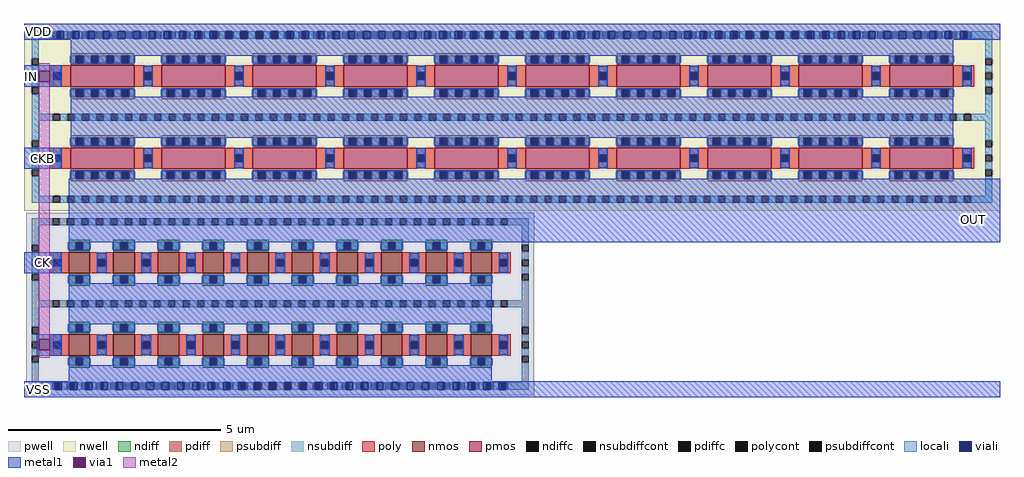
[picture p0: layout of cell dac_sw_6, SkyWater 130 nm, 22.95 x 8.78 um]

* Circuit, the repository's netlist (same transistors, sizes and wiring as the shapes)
** sch_path: /home/mthudaa/vlsi/8bit_SAR-ADC_ITS/xschem/dac_sw_6.sch
.subckt dac_sw_6 vdd in ck ckb vss out
*.PININFO vdd:I in:I ck:I ckb:I vss:I out:O
XM1 net1 in vdd vdd sky130_fd_pr__pfet_01v8 L=0.5 W=1.5 nf=1 m=10
XM2 out ckb net1 vdd sky130_fd_pr__pfet_01v8 L=0.5 W=1.5 nf=1 m=10
XM3 out ck net2 vss sky130_fd_pr__nfet_01v8 L=0.5 W=0.5 nf=1 m=10
XM4 net2 in vss vss sky130_fd_pr__nfet_01v8 L=0.5 W=0.5 nf=1 m=10
.ends
.end

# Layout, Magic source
magic
tech sky130A
magscale 1 2
<< locali >>
rect 238 1527 260 1561
rect 294 1527 332 1561
rect 366 1527 404 1561
rect 438 1527 476 1561
rect 510 1527 548 1561
rect 582 1527 620 1561
rect 654 1527 692 1561
rect 726 1527 764 1561
rect 798 1527 836 1561
rect 870 1527 908 1561
rect 942 1527 980 1561
rect 1014 1527 1052 1561
rect 1086 1527 1124 1561
rect 1158 1527 1196 1561
rect 1230 1527 1268 1561
rect 1302 1527 1340 1561
rect 1374 1527 1412 1561
rect 1446 1527 1484 1561
rect 1518 1527 1556 1561
rect 1590 1527 1628 1561
rect 1662 1527 1700 1561
rect 1734 1527 1772 1561
rect 1806 1527 1844 1561
rect 1878 1527 1916 1561
rect 1950 1527 1988 1561
rect 2022 1527 2060 1561
rect 2094 1527 2132 1561
rect 2166 1527 2204 1561
rect 2238 1527 2276 1561
rect 2310 1527 2348 1561
rect 2382 1527 2420 1561
rect 2454 1527 2492 1561
rect 2526 1527 2564 1561
rect 2598 1527 2636 1561
rect 2670 1527 2708 1561
rect 2742 1527 2780 1561
rect 2814 1527 2852 1561
rect 2886 1527 2924 1561
rect 2958 1527 2996 1561
rect 3030 1527 3068 1561
rect 3102 1527 3140 1561
rect 3174 1527 3212 1561
rect 3246 1527 3284 1561
rect 3318 1527 3356 1561
rect 3390 1527 3428 1561
rect 3462 1527 3500 1561
rect 3534 1527 3572 1561
rect 3606 1527 3644 1561
rect 3678 1527 3716 1561
rect 3750 1527 3788 1561
rect 3822 1527 3860 1561
rect 3894 1527 3932 1561
rect 3966 1527 4004 1561
rect 4038 1527 4076 1561
rect 4110 1527 4148 1561
rect 4182 1527 4220 1561
rect 4254 1527 4292 1561
rect 4326 1527 4364 1561
rect 4398 1527 4436 1561
rect 4470 1527 4508 1561
rect 4542 1527 4564 1561
rect 238 -123 250 -89
rect 284 -123 322 -89
rect 356 -123 394 -89
rect 428 -123 466 -89
rect 500 -123 538 -89
rect 572 -123 610 -89
rect 644 -123 682 -89
rect 716 -123 754 -89
rect 788 -123 826 -89
rect 860 -123 898 -89
rect 932 -123 970 -89
rect 1004 -123 1042 -89
rect 1076 -123 1114 -89
rect 1148 -123 1186 -89
rect 1220 -123 1258 -89
rect 1292 -123 1330 -89
rect 1364 -123 1402 -89
rect 1436 -123 1474 -89
rect 1508 -123 1546 -89
rect 1580 -123 1618 -89
rect 1652 -123 1690 -89
rect 1724 -123 1762 -89
rect 1796 -123 1834 -89
rect 1868 -123 1906 -89
rect 1940 -123 1978 -89
rect 2012 -123 2050 -89
rect 2084 -123 2122 -89
rect 2156 -123 2194 -89
rect 2228 -123 2266 -89
rect 2300 -123 2338 -89
rect 2372 -123 2384 -89
<< viali >>
rect 260 1527 294 1561
rect 332 1527 366 1561
rect 404 1527 438 1561
rect 476 1527 510 1561
rect 548 1527 582 1561
rect 620 1527 654 1561
rect 692 1527 726 1561
rect 764 1527 798 1561
rect 836 1527 870 1561
rect 908 1527 942 1561
rect 980 1527 1014 1561
rect 1052 1527 1086 1561
rect 1124 1527 1158 1561
rect 1196 1527 1230 1561
rect 1268 1527 1302 1561
rect 1340 1527 1374 1561
rect 1412 1527 1446 1561
rect 1484 1527 1518 1561
rect 1556 1527 1590 1561
rect 1628 1527 1662 1561
rect 1700 1527 1734 1561
rect 1772 1527 1806 1561
rect 1844 1527 1878 1561
rect 1916 1527 1950 1561
rect 1988 1527 2022 1561
rect 2060 1527 2094 1561
rect 2132 1527 2166 1561
rect 2204 1527 2238 1561
rect 2276 1527 2310 1561
rect 2348 1527 2382 1561
rect 2420 1527 2454 1561
rect 2492 1527 2526 1561
rect 2564 1527 2598 1561
rect 2636 1527 2670 1561
rect 2708 1527 2742 1561
rect 2780 1527 2814 1561
rect 2852 1527 2886 1561
rect 2924 1527 2958 1561
rect 2996 1527 3030 1561
rect 3068 1527 3102 1561
rect 3140 1527 3174 1561
rect 3212 1527 3246 1561
rect 3284 1527 3318 1561
rect 3356 1527 3390 1561
rect 3428 1527 3462 1561
rect 3500 1527 3534 1561
rect 3572 1527 3606 1561
rect 3644 1527 3678 1561
rect 3716 1527 3750 1561
rect 3788 1527 3822 1561
rect 3860 1527 3894 1561
rect 3932 1527 3966 1561
rect 4004 1527 4038 1561
rect 4076 1527 4110 1561
rect 4148 1527 4182 1561
rect 4220 1527 4254 1561
rect 4292 1527 4326 1561
rect 4364 1527 4398 1561
rect 4436 1527 4470 1561
rect 4508 1527 4542 1561
rect 250 -123 284 -89
rect 322 -123 356 -89
rect 394 -123 428 -89
rect 466 -123 500 -89
rect 538 -123 572 -89
rect 610 -123 644 -89
rect 682 -123 716 -89
rect 754 -123 788 -89
rect 826 -123 860 -89
rect 898 -123 932 -89
rect 970 -123 1004 -89
rect 1042 -123 1076 -89
rect 1114 -123 1148 -89
rect 1186 -123 1220 -89
rect 1258 -123 1292 -89
rect 1330 -123 1364 -89
rect 1402 -123 1436 -89
rect 1474 -123 1508 -89
rect 1546 -123 1580 -89
rect 1618 -123 1652 -89
rect 1690 -123 1724 -89
rect 1762 -123 1796 -89
rect 1834 -123 1868 -89
rect 1906 -123 1940 -89
rect 1978 -123 2012 -89
rect 2050 -123 2084 -89
rect 2122 -123 2156 -89
rect 2194 -123 2228 -89
rect 2266 -123 2300 -89
rect 2338 -123 2372 -89
<< metal1 >>
rect 106 1561 4696 1597
rect 106 1527 260 1561
rect 294 1527 332 1561
rect 366 1527 404 1561
rect 438 1527 476 1561
rect 510 1527 548 1561
rect 582 1527 620 1561
rect 654 1527 692 1561
rect 726 1527 764 1561
rect 798 1527 836 1561
rect 870 1527 908 1561
rect 942 1527 980 1561
rect 1014 1527 1052 1561
rect 1086 1527 1124 1561
rect 1158 1527 1196 1561
rect 1230 1527 1268 1561
rect 1302 1527 1340 1561
rect 1374 1527 1412 1561
rect 1446 1527 1484 1561
rect 1518 1527 1556 1561
rect 1590 1527 1628 1561
rect 1662 1527 1700 1561
rect 1734 1527 1772 1561
rect 1806 1527 1844 1561
rect 1878 1527 1916 1561
rect 1950 1527 1988 1561
rect 2022 1527 2060 1561
rect 2094 1527 2132 1561
rect 2166 1527 2204 1561
rect 2238 1527 2276 1561
rect 2310 1527 2348 1561
rect 2382 1527 2420 1561
rect 2454 1527 2492 1561
rect 2526 1527 2564 1561
rect 2598 1527 2636 1561
rect 2670 1527 2708 1561
rect 2742 1527 2780 1561
rect 2814 1527 2852 1561
rect 2886 1527 2924 1561
rect 2958 1527 2996 1561
rect 3030 1527 3068 1561
rect 3102 1527 3140 1561
rect 3174 1527 3212 1561
rect 3246 1527 3284 1561
rect 3318 1527 3356 1561
rect 3390 1527 3428 1561
rect 3462 1527 3500 1561
rect 3534 1527 3572 1561
rect 3606 1527 3644 1561
rect 3678 1527 3716 1561
rect 3750 1527 3788 1561
rect 3822 1527 3860 1561
rect 3894 1527 3932 1561
rect 3966 1527 4004 1561
rect 4038 1527 4076 1561
rect 4110 1527 4148 1561
rect 4182 1527 4220 1561
rect 4254 1527 4292 1561
rect 4326 1527 4364 1561
rect 4398 1527 4436 1561
rect 4470 1527 4508 1561
rect 4542 1527 4696 1561
rect 106 1521 4696 1527
rect 325 1447 4477 1521
rect 106 1377 284 1401
rect 106 1325 176 1377
rect 228 1325 284 1377
rect 106 1301 284 1325
rect 325 1061 4477 1255
rect 106 915 284 1015
rect 316 569 4696 869
rect 106 423 284 523
rect 316 183 2306 377
rect 166 113 284 137
rect 166 61 176 113
rect 228 61 284 113
rect 166 37 284 61
rect 316 -83 2306 -9
rect 106 -89 4696 -83
rect 106 -123 250 -89
rect 284 -123 322 -89
rect 356 -123 394 -89
rect 428 -123 466 -89
rect 500 -123 538 -89
rect 572 -123 610 -89
rect 644 -123 682 -89
rect 716 -123 754 -89
rect 788 -123 826 -89
rect 860 -123 898 -89
rect 932 -123 970 -89
rect 1004 -123 1042 -89
rect 1076 -123 1114 -89
rect 1148 -123 1186 -89
rect 1220 -123 1258 -89
rect 1292 -123 1330 -89
rect 1364 -123 1402 -89
rect 1436 -123 1474 -89
rect 1508 -123 1546 -89
rect 1580 -123 1618 -89
rect 1652 -123 1690 -89
rect 1724 -123 1762 -89
rect 1796 -123 1834 -89
rect 1868 -123 1906 -89
rect 1940 -123 1978 -89
rect 2012 -123 2050 -89
rect 2084 -123 2122 -89
rect 2156 -123 2194 -89
rect 2228 -123 2266 -89
rect 2300 -123 2338 -89
rect 2372 -123 4696 -89
rect 106 -159 4696 -123
<< via1 >>
rect 176 1325 228 1377
rect 176 61 228 113
<< metal2 >>
rect 176 1377 228 1411
rect 176 113 228 1325
rect 176 27 228 61
use sky130_fd_pr__nfet_01v8_55NS9E  sky130_fd_pr__nfet_01v8_55NS9E_0
transform 0 1 1311 -1 0 87
box -236 -1195 236 1195
use sky130_fd_pr__pfet_01v8_D9QZ56  sky130_fd_pr__pfet_01v8_D9QZ56_0
transform 0 1 2401 -1 0 965
box -246 -2295 246 2295
use sky130_fd_pr__pfet_01v8_D9QZ56  XM1
transform 0 1 2401 -1 0 1351
box -246 -2295 246 2295
use sky130_fd_pr__nfet_01v8_55NS9E  XM3
transform 0 1 1311 -1 0 473
box -236 -1195 236 1195
<< labels >>
flabel metal1 s 106 1521 238 1597 0 FreeSans 500 0 0 0 VDD
port 1 nsew
flabel metal1 s 106 1301 176 1401 0 FreeSans 500 0 0 0 IN
port 2 nsew
flabel metal1 s 106 915 284 1015 0 FreeSans 500 0 0 0 CKB
port 3 nsew
flabel metal1 s 106 423 284 523 0 FreeSans 500 0 0 0 CK
port 4 nsew
flabel metal1 s 106 -159 238 -83 0 FreeSans 500 0 0 0 VSS
port 5 nsew
flabel metal1 s 4514 655 4628 703 0 FreeSans 500 0 0 0 OUT
port 6 nsew
<< end >>

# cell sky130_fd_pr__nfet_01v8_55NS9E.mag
magic
tech sky130A
magscale 1 2
<< pwell >>
rect -236 -1195 236 1195
<< nmos >>
rect -50 895 50 995
rect -50 685 50 785
rect -50 475 50 575
rect -50 265 50 365
rect -50 55 50 155
rect -50 -155 50 -55
rect -50 -365 50 -265
rect -50 -575 50 -475
rect -50 -785 50 -685
rect -50 -995 50 -895
<< ndiff >>
rect -108 962 -50 995
rect -108 928 -96 962
rect -62 928 -50 962
rect -108 895 -50 928
rect 50 962 108 995
rect 50 928 62 962
rect 96 928 108 962
rect 50 895 108 928
rect -108 752 -50 785
rect -108 718 -96 752
rect -62 718 -50 752
rect -108 685 -50 718
rect 50 752 108 785
rect 50 718 62 752
rect 96 718 108 752
rect 50 685 108 718
rect -108 542 -50 575
rect -108 508 -96 542
rect -62 508 -50 542
rect -108 475 -50 508
rect 50 542 108 575
rect 50 508 62 542
rect 96 508 108 542
rect 50 475 108 508
rect -108 332 -50 365
rect -108 298 -96 332
rect -62 298 -50 332
rect -108 265 -50 298
rect 50 332 108 365
rect 50 298 62 332
rect 96 298 108 332
rect 50 265 108 298
rect -108 122 -50 155
rect -108 88 -96 122
rect -62 88 -50 122
rect -108 55 -50 88
rect 50 122 108 155
rect 50 88 62 122
rect 96 88 108 122
rect 50 55 108 88
rect -108 -88 -50 -55
rect -108 -122 -96 -88
rect -62 -122 -50 -88
rect -108 -155 -50 -122
rect 50 -88 108 -55
rect 50 -122 62 -88
rect 96 -122 108 -88
rect 50 -155 108 -122
rect -108 -298 -50 -265
rect -108 -332 -96 -298
rect -62 -332 -50 -298
rect -108 -365 -50 -332
rect 50 -298 108 -265
rect 50 -332 62 -298
rect 96 -332 108 -298
rect 50 -365 108 -332
rect -108 -508 -50 -475
rect -108 -542 -96 -508
rect -62 -542 -50 -508
rect -108 -575 -50 -542
rect 50 -508 108 -475
rect 50 -542 62 -508
rect 96 -542 108 -508
rect 50 -575 108 -542
rect -108 -718 -50 -685
rect -108 -752 -96 -718
rect -62 -752 -50 -718
rect -108 -785 -50 -752
rect 50 -718 108 -685
rect 50 -752 62 -718
rect 96 -752 108 -718
rect 50 -785 108 -752
rect -108 -928 -50 -895
rect -108 -962 -96 -928
rect -62 -962 -50 -928
rect -108 -995 -50 -962
rect 50 -928 108 -895
rect 50 -962 62 -928
rect 96 -962 108 -928
rect 50 -995 108 -962
<< ndiffc >>
rect -96 928 -62 962
rect 62 928 96 962
rect -96 718 -62 752
rect 62 718 96 752
rect -96 508 -62 542
rect 62 508 96 542
rect -96 298 -62 332
rect 62 298 96 332
rect -96 88 -62 122
rect 62 88 96 122
rect -96 -122 -62 -88
rect 62 -122 96 -88
rect -96 -332 -62 -298
rect 62 -332 96 -298
rect -96 -542 -62 -508
rect 62 -542 96 -508
rect -96 -752 -62 -718
rect 62 -752 96 -718
rect -96 -962 -62 -928
rect 62 -962 96 -928
<< psubdiff >>
rect -210 1135 -85 1169
rect -51 1135 -17 1169
rect 17 1135 51 1169
rect 85 1135 210 1169
rect -210 1071 -176 1135
rect -210 1003 -176 1037
rect 176 1071 210 1135
rect 176 1003 210 1037
rect -210 935 -176 969
rect -210 867 -176 901
rect 176 935 210 969
rect -210 799 -176 833
rect 176 867 210 901
rect 176 799 210 833
rect -210 731 -176 765
rect -210 663 -176 697
rect 176 731 210 765
rect -210 595 -176 629
rect 176 663 210 697
rect 176 595 210 629
rect -210 527 -176 561
rect -210 459 -176 493
rect 176 527 210 561
rect -210 391 -176 425
rect 176 459 210 493
rect 176 391 210 425
rect -210 323 -176 357
rect -210 255 -176 289
rect 176 323 210 357
rect -210 187 -176 221
rect 176 255 210 289
rect 176 187 210 221
rect -210 119 -176 153
rect -210 51 -176 85
rect 176 119 210 153
rect -210 -17 -176 17
rect -210 -85 -176 -51
rect 176 51 210 85
rect 176 -17 210 17
rect -210 -153 -176 -119
rect 176 -85 210 -51
rect 176 -153 210 -119
rect -210 -221 -176 -187
rect -210 -289 -176 -255
rect 176 -221 210 -187
rect -210 -357 -176 -323
rect 176 -289 210 -255
rect 176 -357 210 -323
rect -210 -425 -176 -391
rect -210 -493 -176 -459
rect 176 -425 210 -391
rect -210 -561 -176 -527
rect 176 -493 210 -459
rect 176 -561 210 -527
rect -210 -629 -176 -595
rect -210 -697 -176 -663
rect 176 -629 210 -595
rect -210 -765 -176 -731
rect 176 -697 210 -663
rect 176 -765 210 -731
rect -210 -833 -176 -799
rect -210 -901 -176 -867
rect 176 -833 210 -799
rect -210 -969 -176 -935
rect 176 -901 210 -867
rect 176 -969 210 -935
rect -210 -1037 -176 -1003
rect -210 -1135 -176 -1071
rect 176 -1037 210 -1003
rect 176 -1135 210 -1071
rect -210 -1169 -85 -1135
rect -51 -1169 -17 -1135
rect 17 -1169 51 -1135
rect 85 -1169 210 -1135
<< psubdiffcont >>
rect -85 1135 -51 1169
rect -17 1135 17 1169
rect 51 1135 85 1169
rect -210 1037 -176 1071
rect -210 969 -176 1003
rect 176 1037 210 1071
rect -210 901 -176 935
rect 176 969 210 1003
rect 176 901 210 935
rect -210 833 -176 867
rect -210 765 -176 799
rect 176 833 210 867
rect -210 697 -176 731
rect 176 765 210 799
rect 176 697 210 731
rect -210 629 -176 663
rect -210 561 -176 595
rect 176 629 210 663
rect -210 493 -176 527
rect 176 561 210 595
rect 176 493 210 527
rect -210 425 -176 459
rect -210 357 -176 391
rect 176 425 210 459
rect -210 289 -176 323
rect 176 357 210 391
rect 176 289 210 323
rect -210 221 -176 255
rect -210 153 -176 187
rect 176 221 210 255
rect -210 85 -176 119
rect 176 153 210 187
rect 176 85 210 119
rect -210 17 -176 51
rect -210 -51 -176 -17
rect 176 17 210 51
rect 176 -51 210 -17
rect -210 -119 -176 -85
rect -210 -187 -176 -153
rect 176 -119 210 -85
rect -210 -255 -176 -221
rect 176 -187 210 -153
rect 176 -255 210 -221
rect -210 -323 -176 -289
rect -210 -391 -176 -357
rect 176 -323 210 -289
rect -210 -459 -176 -425
rect 176 -391 210 -357
rect 176 -459 210 -425
rect -210 -527 -176 -493
rect -210 -595 -176 -561
rect 176 -527 210 -493
rect -210 -663 -176 -629
rect 176 -595 210 -561
rect 176 -663 210 -629
rect -210 -731 -176 -697
rect -210 -799 -176 -765
rect 176 -731 210 -697
rect -210 -867 -176 -833
rect 176 -799 210 -765
rect 176 -867 210 -833
rect -210 -935 -176 -901
rect -210 -1003 -176 -969
rect 176 -935 210 -901
rect -210 -1071 -176 -1037
rect 176 -1003 210 -969
rect 176 -1071 210 -1037
rect -85 -1169 -51 -1135
rect -17 -1169 17 -1135
rect 51 -1169 85 -1135
<< poly >>
rect -50 1067 50 1083
rect -50 1033 -17 1067
rect 17 1033 50 1067
rect -50 995 50 1033
rect -50 857 50 895
rect -50 823 -17 857
rect 17 823 50 857
rect -50 785 50 823
rect -50 647 50 685
rect -50 613 -17 647
rect 17 613 50 647
rect -50 575 50 613
rect -50 437 50 475
rect -50 403 -17 437
rect 17 403 50 437
rect -50 365 50 403
rect -50 227 50 265
rect -50 193 -17 227
rect 17 193 50 227
rect -50 155 50 193
rect -50 17 50 55
rect -50 -17 -17 17
rect 17 -17 50 17
rect -50 -55 50 -17
rect -50 -193 50 -155
rect -50 -227 -17 -193
rect 17 -227 50 -193
rect -50 -265 50 -227
rect -50 -403 50 -365
rect -50 -437 -17 -403
rect 17 -437 50 -403
rect -50 -475 50 -437
rect -50 -613 50 -575
rect -50 -647 -17 -613
rect 17 -647 50 -613
rect -50 -685 50 -647
rect -50 -823 50 -785
rect -50 -857 -17 -823
rect 17 -857 50 -823
rect -50 -895 50 -857
rect -50 -1033 50 -995
rect -50 -1067 -17 -1033
rect 17 -1067 50 -1033
rect -50 -1083 50 -1067
<< polycont >>
rect -17 1033 17 1067
rect -17 823 17 857
rect -17 613 17 647
rect -17 403 17 437
rect -17 193 17 227
rect -17 -17 17 17
rect -17 -227 17 -193
rect -17 -437 17 -403
rect -17 -647 17 -613
rect -17 -857 17 -823
rect -17 -1067 17 -1033
<< locali >>
rect -210 1135 -85 1169
rect -51 1135 -17 1169
rect 17 1135 51 1169
rect 85 1135 210 1169
rect -210 1071 -176 1135
rect 176 1071 210 1135
rect -210 1003 -176 1037
rect -50 1033 -17 1067
rect 17 1033 50 1067
rect 176 1003 210 1037
rect -210 935 -176 969
rect -210 867 -176 901
rect -96 962 -62 999
rect -96 891 -62 928
rect 62 962 96 999
rect 62 891 96 928
rect 176 935 210 969
rect 176 867 210 901
rect -210 799 -176 833
rect -50 823 -17 857
rect 17 823 50 857
rect 176 799 210 833
rect -210 731 -176 765
rect -210 663 -176 697
rect -96 752 -62 789
rect -96 681 -62 718
rect 62 752 96 789
rect 62 681 96 718
rect 176 731 210 765
rect 176 663 210 697
rect -210 595 -176 629
rect -50 613 -17 647
rect 17 613 50 647
rect 176 595 210 629
rect -210 527 -176 561
rect -210 459 -176 493
rect -96 542 -62 579
rect -96 471 -62 508
rect 62 542 96 579
rect 62 471 96 508
rect 176 527 210 561
rect 176 459 210 493
rect -210 391 -176 425
rect -50 403 -17 437
rect 17 403 50 437
rect 176 391 210 425
rect -210 323 -176 357
rect -210 255 -176 289
rect -96 332 -62 369
rect -96 261 -62 298
rect 62 332 96 369
rect 62 261 96 298
rect 176 323 210 357
rect 176 255 210 289
rect -210 187 -176 221
rect -50 193 -17 227
rect 17 193 50 227
rect 176 187 210 221
rect -210 119 -176 153
rect -210 51 -176 85
rect -96 122 -62 159
rect -96 51 -62 88
rect 62 122 96 159
rect 62 51 96 88
rect 176 119 210 153
rect 176 51 210 85
rect -210 -17 -176 17
rect -50 -17 -17 17
rect 17 -17 50 17
rect 176 -17 210 17
rect -210 -85 -176 -51
rect -210 -153 -176 -119
rect -96 -88 -62 -51
rect -96 -159 -62 -122
rect 62 -88 96 -51
rect 62 -159 96 -122
rect 176 -85 210 -51
rect 176 -153 210 -119
rect -210 -221 -176 -187
rect -50 -227 -17 -193
rect 17 -227 50 -193
rect 176 -221 210 -187
rect -210 -289 -176 -255
rect -210 -357 -176 -323
rect -96 -298 -62 -261
rect -96 -369 -62 -332
rect 62 -298 96 -261
rect 62 -369 96 -332
rect 176 -289 210 -255
rect 176 -357 210 -323
rect -210 -425 -176 -391
rect -50 -437 -17 -403
rect 17 -437 50 -403
rect 176 -425 210 -391
rect -210 -493 -176 -459
rect -210 -561 -176 -527
rect -96 -508 -62 -471
rect -96 -579 -62 -542
rect 62 -508 96 -471
rect 62 -579 96 -542
rect 176 -493 210 -459
rect 176 -561 210 -527
rect -210 -629 -176 -595
rect -50 -647 -17 -613
rect 17 -647 50 -613
rect 176 -629 210 -595
rect -210 -697 -176 -663
rect -210 -765 -176 -731
rect -96 -718 -62 -681
rect -96 -789 -62 -752
rect 62 -718 96 -681
rect 62 -789 96 -752
rect 176 -697 210 -663
rect 176 -765 210 -731
rect -210 -833 -176 -799
rect -50 -857 -17 -823
rect 17 -857 50 -823
rect 176 -833 210 -799
rect -210 -901 -176 -867
rect -210 -969 -176 -935
rect -96 -928 -62 -891
rect -96 -999 -62 -962
rect 62 -928 96 -891
rect 62 -999 96 -962
rect 176 -901 210 -867
rect 176 -969 210 -935
rect -210 -1037 -176 -1003
rect -50 -1067 -17 -1033
rect 17 -1067 50 -1033
rect 176 -1037 210 -1003
rect -210 -1135 -176 -1071
rect 176 -1135 210 -1071
rect -210 -1169 -85 -1135
rect -51 -1169 -17 -1135
rect 17 -1169 51 -1135
rect 85 -1169 210 -1135
<< viali >>
rect -17 1033 17 1067
rect -96 928 -62 962
rect 62 928 96 962
rect -17 823 17 857
rect -96 718 -62 752
rect 62 718 96 752
rect -17 613 17 647
rect -96 508 -62 542
rect 62 508 96 542
rect -17 403 17 437
rect -96 298 -62 332
rect 62 298 96 332
rect -17 193 17 227
rect -96 88 -62 122
rect 62 88 96 122
rect -17 -17 17 17
rect -96 -122 -62 -88
rect 62 -122 96 -88
rect -17 -227 17 -193
rect -96 -332 -62 -298
rect 62 -332 96 -298
rect -17 -437 17 -403
rect -96 -542 -62 -508
rect 62 -542 96 -508
rect -17 -647 17 -613
rect -96 -752 -62 -718
rect 62 -752 96 -718
rect -17 -857 17 -823
rect -96 -962 -62 -928
rect 62 -962 96 -928
rect -17 -1067 17 -1033
<< metal1 >>
rect -46 1067 46 1073
rect -46 1033 -17 1067
rect 17 1033 46 1067
rect -46 1027 46 1033
rect -102 962 -56 995
rect -102 928 -96 962
rect -62 928 -56 962
rect -102 895 -56 928
rect 56 962 102 995
rect 56 928 62 962
rect 96 928 102 962
rect 56 895 102 928
rect -46 857 46 863
rect -46 823 -17 857
rect 17 823 46 857
rect -46 817 46 823
rect -102 752 -56 785
rect -102 718 -96 752
rect -62 718 -56 752
rect -102 685 -56 718
rect 56 752 102 785
rect 56 718 62 752
rect 96 718 102 752
rect 56 685 102 718
rect -46 647 46 653
rect -46 613 -17 647
rect 17 613 46 647
rect -46 607 46 613
rect -102 542 -56 575
rect -102 508 -96 542
rect -62 508 -56 542
rect -102 475 -56 508
rect 56 542 102 575
rect 56 508 62 542
rect 96 508 102 542
rect 56 475 102 508
rect -46 437 46 443
rect -46 403 -17 437
rect 17 403 46 437
rect -46 397 46 403
rect -102 332 -56 365
rect -102 298 -96 332
rect -62 298 -56 332
rect -102 265 -56 298
rect 56 332 102 365
rect 56 298 62 332
rect 96 298 102 332
rect 56 265 102 298
rect -46 227 46 233
rect -46 193 -17 227
rect 17 193 46 227
rect -46 187 46 193
rect -102 122 -56 155
rect -102 88 -96 122
rect -62 88 -56 122
rect -102 55 -56 88
rect 56 122 102 155
rect 56 88 62 122
rect 96 88 102 122
rect 56 55 102 88
rect -46 17 46 23
rect -46 -17 -17 17
rect 17 -17 46 17
rect -46 -23 46 -17
rect -102 -88 -56 -55
rect -102 -122 -96 -88
rect -62 -122 -56 -88
rect -102 -155 -56 -122
rect 56 -88 102 -55
rect 56 -122 62 -88
rect 96 -122 102 -88
rect 56 -155 102 -122
rect -46 -193 46 -187
rect -46 -227 -17 -193
rect 17 -227 46 -193
rect -46 -233 46 -227
rect -102 -298 -56 -265
rect -102 -332 -96 -298
rect -62 -332 -56 -298
rect -102 -365 -56 -332
rect 56 -298 102 -265
rect 56 -332 62 -298
rect 96 -332 102 -298
rect 56 -365 102 -332
rect -46 -403 46 -397
rect -46 -437 -17 -403
rect 17 -437 46 -403
rect -46 -443 46 -437
rect -102 -508 -56 -475
rect -102 -542 -96 -508
rect -62 -542 -56 -508
rect -102 -575 -56 -542
rect 56 -508 102 -475
rect 56 -542 62 -508
rect 96 -542 102 -508
rect 56 -575 102 -542
rect -46 -613 46 -607
rect -46 -647 -17 -613
rect 17 -647 46 -613
rect -46 -653 46 -647
rect -102 -718 -56 -685
rect -102 -752 -96 -718
rect -62 -752 -56 -718
rect -102 -785 -56 -752
rect 56 -718 102 -685
rect 56 -752 62 -718
rect 96 -752 102 -718
rect 56 -785 102 -752
rect -46 -823 46 -817
rect -46 -857 -17 -823
rect 17 -857 46 -823
rect -46 -863 46 -857
rect -102 -928 -56 -895
rect -102 -962 -96 -928
rect -62 -962 -56 -928
rect -102 -995 -56 -962
rect 56 -928 102 -895
rect 56 -962 62 -928
rect 96 -962 102 -928
rect 56 -995 102 -962
rect -46 -1033 46 -1027
rect -46 -1067 -17 -1033
rect 17 -1067 46 -1033
rect -46 -1073 46 -1067
<< properties >>
string FIXED_BBOX -193 -1152 193 1152
<< end >>

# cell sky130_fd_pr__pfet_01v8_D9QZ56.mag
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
